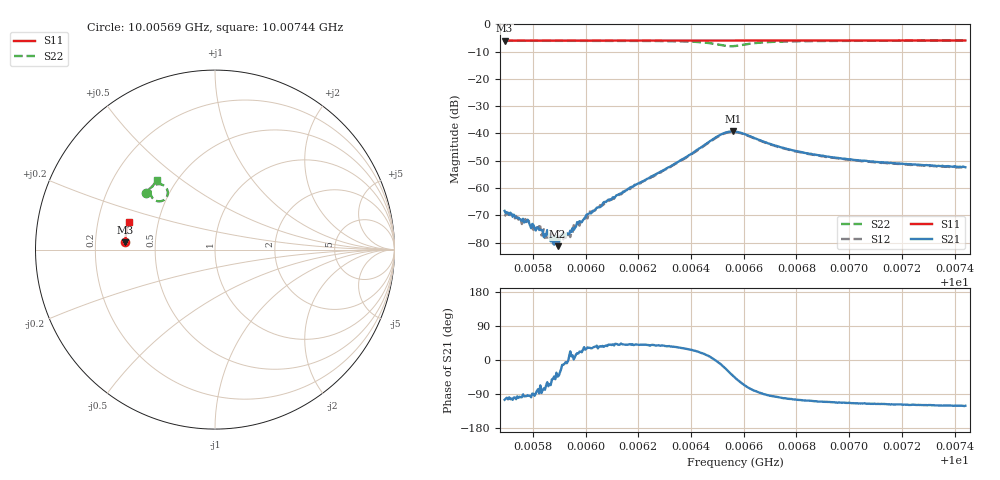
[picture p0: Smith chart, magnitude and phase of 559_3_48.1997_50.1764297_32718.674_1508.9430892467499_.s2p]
#  HZ  S  RI  R  50.00
! Rohde & Schwarz Vector Network Analyzer
! Rohde-Schwarz,ZNB20-2Port,1311601062101988,3.16
! Created: UTC 3/20/2024, 12:01:07 PM
! freq[Hz]  re:S11  im:S11  re:S21  im:S21  re:S12  im:S12  re:S22  im:S22
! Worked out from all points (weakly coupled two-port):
!   401 points, 10.00569 GHz to 10.00744 GHz, reference 50 ohm
!   highest |S21| = -39.28 dB at 10.00656 GHz (marker M1); lowest = -81.3 dB at 10.00589 GHz (marker M2)
!   lowest |S11| = -6.0 dB at 10.00569 GHz (marker M3), VSWR 3.01, Z = 16.6 + j1.84 ohm
!   |S11| at or under -10 dB: nowhere
!   |S22| runs from -8.0 to -6.0 dB; largest |S21 - S12| = 0.00071
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1.0005693e10  -0.5 0.0414  -9.77e-05 -0.000367  -3.73e-05 -0.000301  -0.3827 0.3176
1.0005715e10  -0.5001 0.0428  -8.25e-05 -0.000343  -2.3e-05 -0.000319  -0.3815 0.3191
1.000578e10  -0.4998 0.047  -1.27e-05 -0.000262  -2.13e-05 -0.000246  -0.3783 0.3231
1.0005802e10  -0.4996 0.0484  4.33e-06 -0.000209  -1.33e-05 -0.000171  -0.3773 0.3243
1.0005833e10  -0.4994 0.0504  8.59e-06 -0.000167  4.16e-05 -0.000128  -0.3757 0.3261
1.0005855e10  -0.4994 0.0519  8.83e-05 -0.000144  5.1e-05 -0.00011  -0.3746 0.3275
1.0005872e10  -0.4993 0.053  7.84e-05 -9.85e-05  7.59e-05 -0.000121  -0.3737 0.3286
1.0005885e10  -0.4991 0.0539  8.46e-05 -0.000103  8.32e-05 -8.44e-05  -0.3729 0.3293
1.0005894e10  -0.4991 0.0545  6.2e-05 -5.93e-05  6.07e-05 -6.49e-05  -0.3725 0.33
1.0005942e10  -0.4989 0.0576  0.000153 6.42e-05  0.000123 2.93e-05  -0.3697 0.333
1.0005964e10  -0.4989 0.059  0.00019 4.92e-05  0.000186 7.68e-05  -0.3684 0.3344
1.0005986e10  -0.4987 0.0604  0.000221 8.25e-05  0.000226 0.000125  -0.367 0.336
1.0006021e10  -0.4984 0.0627  0.000293 0.000176  0.00029 0.000218  -0.3648 0.3381
1.0006078e10  -0.4981 0.0664  0.000434 0.000342  0.00042 0.000335  -0.3609 0.3422
1.0006279e10  -0.4965 0.0794  0.00149 0.0012  0.00144 0.00126  -0.3405 0.3576
1.0006501e10  -0.4937 0.0938  0.00884 -0.000792  0.00865 -0.000288  -0.2662 0.3335
1.0006558e10  -0.4931 0.0967  0.0082 -0.00713  0.00843 -0.00652  -0.2832 0.2773
1.0006567e10  -0.4931 0.0971  0.00737 -0.00786  0.00771 -0.00724  -0.2921 0.2724
1.0006659e10  -0.4927 0.1028  0.000543 -0.0076  0.000918 -0.00742  -0.3529 0.2944
1.000686e10  -0.4905 0.1159  -0.0013 -0.00395  -0.00112 -0.00391  -0.3533 0.3423
1.0007152e10  -0.4865 0.1345  -0.00129 -0.00254  -0.00116 -0.00259  -0.3365 0.3683
1.0007441e10  -0.4817 0.1524  -0.00123 -0.00206  -0.00114 -0.0021  -0.3208 0.3851
